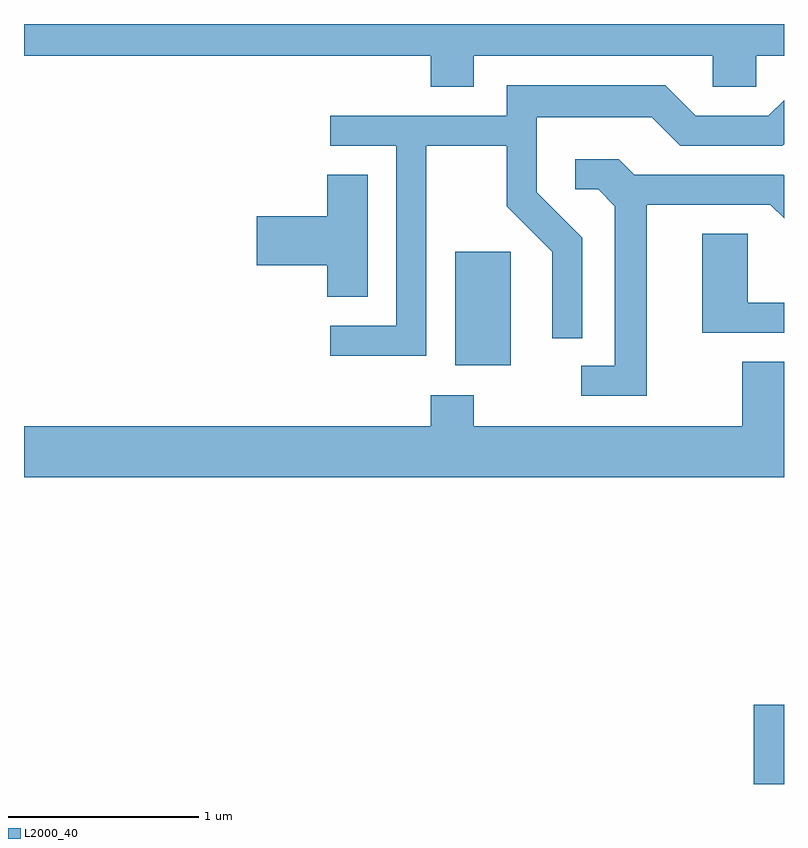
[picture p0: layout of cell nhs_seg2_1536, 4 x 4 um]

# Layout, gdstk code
import gdstk
lib = gdstk.Library(unit=1e-6, precision=1e-09)
def R(c, l, rs):  # rectangles x0, y0, x1, y1
    for r in rs: c.add(gdstk.rectangle(r[:2], r[2:], *l))
def P(c, l, *ps):  # polygons
    for p in ps: c.add(gdstk.Polygon(p, *l))
L2000_40 = (2000, 40)

nhs_seg2_1536 = lib.new_cell('nhs_seg2_1536')
R(nhs_seg2_1536, L2000_40, [(233.451,1057.802,233.611,1058.219), (231.881,1060.006,232.174,1060.604)])
P(nhs_seg2_1536, L2000_40, [(231.979,1061.636),(233.236,1061.636),(233.236,1061.471),(233.464,1061.471),(233.464,1061.636),(233.611,1061.636),(233.611,1061.802),(229.611,1061.802),(229.611,1061.636),(231.751,1061.636),(231.751,1061.471),(231.979,1061.471)],
  [(231.729,1061.161),(232.151,1061.161),(232.151,1060.844),(232.391,1060.604),(232.391,1060.148),(232.549,1060.148),(232.549,1060.677),(232.309,1060.917),(232.309,1061.311),(232.914,1061.311),(233.064,1061.161),(233.602,1061.161),(233.611,1061.17),(233.611,1061.401),(233.529,1061.319),(233.147,1061.319),(232.987,1061.479),(232.151,1061.479),(232.151,1061.319),(231.223,1061.319),(231.223,1061.161),(231.571,1061.161),(231.571,1060.214),(231.223,1060.214),(231.223,1060.056),(231.729,1060.056)],
  [(232.889,1060.851),(233.539,1060.851),(233.611,1060.779),(233.611,1061.005),(233.607,1061.009),(232.822,1061.009),(232.742,1061.089),(232.513,1061.089),(232.513,1060.931),(232.634,1060.931),(232.721,1060.844),(232.721,1060.004),(232.543,1060.004),(232.543,1059.846),(232.889,1059.846)],
  [(231.419,1061.009),(231.206,1061.009),(231.206,1060.789),(230.836,1060.789),(230.836,1060.531),(231.206,1060.531),(231.206,1060.366),(231.419,1060.366)],
  [(233.611,1060.334),(233.419,1060.334),(233.419,1060.699),(233.181,1060.699),(233.181,1060.176),(233.611,1060.176)],
  [(233.611,1060.024),(233.391,1060.024),(233.391,1059.684),(231.979,1059.684),(231.979,1059.849),(231.751,1059.849),(231.751,1059.684),(229.611,1059.684),(229.611,1059.416),(233.611,1059.416)])

lib.write_gds('nhs_seg2_1536.gds')
